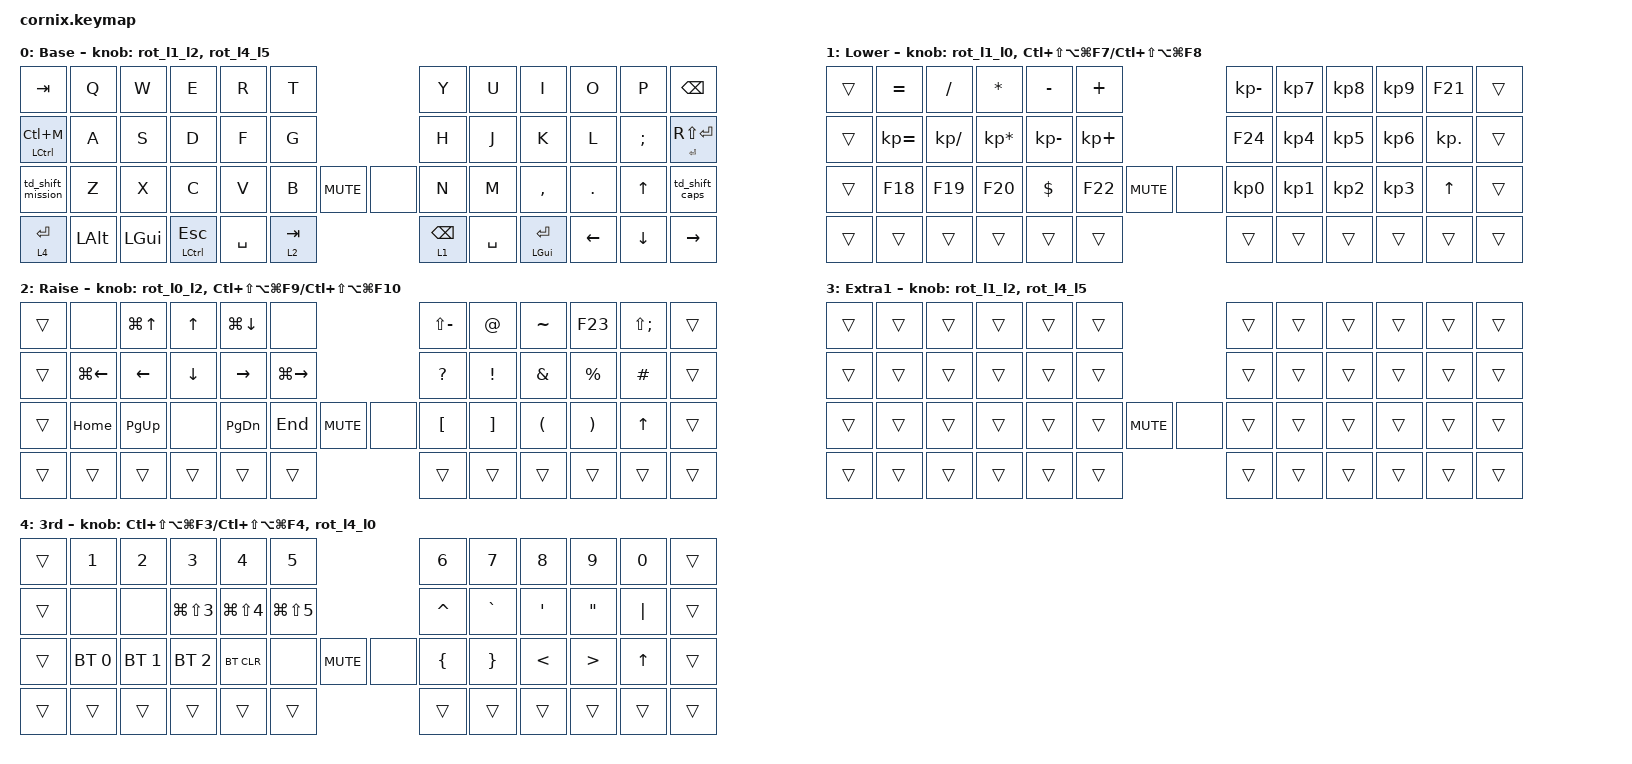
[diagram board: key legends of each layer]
#include <behaviors.dtsi>
#include <dt-bindings/zmk/keys.h>
#include <dt-bindings/zmk/bt.h>

/ {
    behaviors {
        // 1. tap_dance（左右shift2 回押し mission control / CAPSLOCK）
        td_shift_caps: td_shift_caps {
            compatible = "zmk,behavior-tap-dance";
            #binding-cells = <0>;
            tapping-term-ms = <200>;
            bindings = <&kp RSHFT>, <&kp CAPSLOCK>;
        };
        td_shift_mission: td_shift_mission {
            compatible = "zmk,behavior-tap-dance";
            #binding-cells = <0>;
            tapping-term-ms = <200>;
            bindings = <&kp LSHFT>, <&kp C_AC_DESKTOP_SHOW_ALL_WINDOWS>;
        };

         // 3. 長押し shift / 単押し shiftENTER
        mt_shift_shiftret: mt_shift_shiftret {
            compatible = "zmk,behavior-hold-tap";
            #binding-cells = <2>;
            bindings = <&kp>, <&kp>;
            flavor = "balanced";
            tapping-term-ms = <200>;
            quick-tap-ms = <175>; // これが2回目のタップで連打させるコードです
        };

        // 2. 長押し Control / 単押し Escapeまたは確定
        mt_esc_ctrl: mt_esc_ctrl {
            compatible = "zmk,behavior-hold-tap";
            #binding-cells = <2>;
            bindings = <&kp>, <&kp>;
            flavor = "balanced";
            tapping-term-ms = <200>;
            quick-tap-ms = <175>; // これが2回目のタップで連打させるコードです
        };


        // 3. 長押し Command / 単押し ENTER
        mt_ret_cmd: mt_ret_cmd {
            compatible = "zmk,behavior-hold-tap";
            #binding-cells = <2>;
            bindings = <&kp>, <&kp>;
            flavor = "balanced";
            tapping-term-ms = <200>;
            quick-tap-ms = <175>; // これが2回目のタップで連打させるコードです
        };

        
        // 4. レイヤー切り替え用 hold-tap
        // 長押し: Raise (Layer 2) / 単押し: TAB
        mt_tab_l2: mt_tab_l2 {
            compatible = "zmk,behavior-hold-tap";
            #binding-cells = <2>;
            bindings = <&mo>, <&kp>;
            flavor = "balanced";
            tapping-term-ms = <200>;
            quick-tap-ms = <175>; // これが2回目のタップで連打させるコードです
        };

        // 長押し: Lower (Layer 1) / 単押し: BackSpace (BSPC)
        mt_del_l1: mt_del_l1 {
            compatible = "zmk,behavior-hold-tap";
            #binding-cells = <2>;
            bindings = <&mo>, <&kp>;
            flavor = "balanced";
            tapping-term-ms = <200>;
            quick-tap-ms = <175>; // これが2回目のタップで連打させるコードです
        };

        // 長押し 4thレイヤー(Layer 4) / 単押し Return
        mt_ret_l4: mt_ret_l4 {
            compatible = "zmk,behavior-hold-tap";
            #binding-cells = <2>;
            bindings = <&mo>, <&kp>;
            flavor = "balanced";
            tapping-term-ms = <200>;
        };
        
        // 長押し 5thレイヤー(Layer 5) / 単押し Return
        mt_ret_l5: mt_ret_l5 {
            compatible = "zmk,behavior-hold-tap";
            #binding-cells = <2>;
            bindings = <&mo>, <&kp>;
            flavor = "balanced";
            tapping-term-ms = <200>;
        };


        // 6.単押しと長押しを使い分ける
        sr_hold_tap: sr_hold_tap {
            compatible = "zmk,behavior-hold-tap";
            #binding-cells = <2>;
            flavor = "hold-preferred";
            tapping-term-ms = <200>; // 👈 0.2秒長く押せば、自動で通常改行(ENTER)に変身します
            quick-tap-ms = <175>;    // 右手小指のダブルタップ連打も完璧に効くようになります
            bindings = <&kp>, <&kp>;
        };


        // 7. ツマミ専用レイヤー固定移動マクロ
        rot_l1_l2: rot_l1_l2 {
            compatible = "zmk,behavior-sensor-rotate";
            #sensor-binding-cells = <0>;
            bindings = <&to 1>, <&to 2>;
        };
        rot_l4_l5: rot_l4_l5 {
            compatible = "zmk,behavior-sensor-rotate";
            #sensor-binding-cells = <0>;
            bindings = <&to 4>, <&to 5>;
        };
        rot_l1_l0: rot_l1_l0 {
            compatible = "zmk,behavior-sensor-rotate";
            #sensor-binding-cells = <0>;
            bindings = <&to 1>, <&to 0>;
        };
        rot_l0_l2: rot_l0_l2 {
            compatible = "zmk,behavior-sensor-rotate";
            #sensor-binding-cells = <0>;
            bindings = <&to 0>, <&to 2>;
        };
        rot_l4_l0: rot_l4_l0 {
            compatible = "zmk,behavior-sensor-rotate";
            #sensor-binding-cells = <0>;
            bindings = <&to 4>, <&to 0>;
        };
        rot_l0_l5: rot_l0_l5 {
            compatible = "zmk,behavior-sensor-rotate";
            #sensor-binding-cells = <0>;
            bindings = <&to 0>, <&to 5>;
        };
        // 💤 未来のための保管庫：スラッシュでコメントアウトし、ZMKシステムから完全に眠らせています。
        // 💤 再び試したくなった時は、行頭の「//」をすべて消すだけで一瞬で復活できます。
        // hm_l: hm_l {
        //     compatible = "zmk,behavior-hold-tap";
        //     #binding-cells = <2>;
        //     flavor = "balanced";
        //     tapping-term-ms = <280>;
        //     quick-tap-ms = <175>;
        //     require-prior-idle-ms = <125>;
        //     bindings = <&kp>, <&kp>;
        //     hold-trigger-key-positions = <6 7 8 9 10 11 18 19 20 21 22 23 32 33 34 35 36 37>;
        // };

        // hm_r: hm_r {
        //     compatible = "zmk,behavior-hold-tap";
        //     #binding-cells = <2>;
        //     flavor = "balanced";
        //     tapping-term-ms = <280>;
        //     quick-tap-ms = <175>;
        //     require-prior-idle-ms = <125>;
        //     bindings = <&kp>, <&kp>;
        //     hold-trigger-key-positions = <0 1 2 3 4 5 12 13 14 15 16 17 26 27 28 29 30 31>;
        // };
    };

   
    keymap {
        compatible = "zmk,keymap";

       // 0. ベースレイヤー (Default / 薙刀式の共通の土台部屋)&sr_hold_tap ENTER LS(ENTER) &td_shift_caps
        default_layer {
            display-name = "Base";
            bindings = <
&kp TAB                   &kp Q            &kp W          &kp E                   &kp R             &kp T                         &kp Y       &kp U              &kp I                  &kp O      &kp P      &kp BSPC
&mt_esc_ctrl LCTRL LC(M)  &kp A            &kp S          &kp D                   &kp F             &kp G                         &kp H       &kp J              &kp K                  &kp L      &kp SEMI   &sr_hold_tap ENTER RS(ENTER)
&td_shift_mission         &kp Z            &kp X          &kp C                   &kp V             &kp B    &kp C_MUTE  &none    &kp N       &kp M              &kp COMMA              &kp DOT    &kp UP     &td_shift_caps
&mt_ret_l4 4 ENTER        &kp LALT         &kp LGUI       &mt_esc_ctrl LCTRL ESC  &kp SPACE         &mt_tab_l2 2 TAB        &mt_del_l1 1 BSPC      &kp SPACE    &mt_ret_cmd LGUI ENTER  &kp LEFT   &kp DOWN   &kp RIGHT
            >; 
            sensor-bindings = <&rot_l1_l2 &rot_l4_l5>;
        }; 

        // 1. Lowerレイヤー（テンキー部屋）
        // Karabiner連携用ダミーキー（未使用）&kp F14 　&kp F15 　&kp F16 　&kp F17   &kp  RSHFT MINUS
        Lower_layer { 
            display-name = "Lower";
            bindings = <
&trans  &kp EQUAL       &kp FSLH        &kp ASTERISK     &kp MINUS           &kp PLUS                                &kp KP_MINUS   &kp KP_N7  &kp KP_N8  &kp KP_N9   &kp F21       &trans
&trans  &kp KP_EQUAL    &kp KP_SLASH    &kp KP_ASTERISK  &kp KP_MINUS        &kp KP_PLUS                             &kp F24        &kp KP_N4  &kp KP_N5  &kp KP_N6   &kp KP_DOT    &trans
&trans  &kp F18         &kp F19         &kp F20          &kp DLLR            &kp F22        &kp C_MUTE  &none        &kp KP_N0      &kp KP_N1  &kp KP_N2  &kp KP_N3   &kp UP        &trans
&trans  &trans          &trans          &trans           &trans              &trans                                  &trans         &trans     &trans     &trans      &trans        &trans
            >;
            sensor-bindings = <&rot_l1_l0 &inc_dec_kp LC(LS(LA(LG(F7)))) LC(LS(LA(LG(F8))))>;
        };

        // 2. Raiseレイヤー（記号部屋：★左詰め）        
        Raise_layer {
            display-name = "Raise";
            bindings = <
&trans  &none         &kp LG(UP)    &kp UP       &kp LG(DOWN)    &none                         &kp LS(MINUS)  &kp AT       &kp TILDE   &kp F23         &kp LS(SEMI)   &trans
&trans  &kp LG(LEFT)  &kp LEFT      &kp DOWN     &kp RIGHT       &kp LG(RIGHT)                 &kp QMARK      &kp EXCL     &kp AMPS    &kp PRCNT       &kp HASH       &trans
&trans  &kp HOME      &kp PG_UP     &none        &kp PG_DN       &kp END   &kp C_MUTE  &none   &kp LBKT       &kp RBKT     &kp LPAR    &kp RPAR        &kp UP         &trans
&trans  &trans        &trans        &trans       &trans          &trans                        &trans         &trans       &trans      &trans          &trans         &trans
            >;
            sensor-bindings = <&rot_l0_l2 &inc_dec_kp LC(LS(LA(LG(F9)))) LC(LS(LA(LG(F10))))>;
        };

        // 3. 予備レイヤー (naginata_layer)
        naginata_layer {
            display-name = "Extra1";
            bindings = <
&trans  &trans  &trans  &trans  &trans     &trans                    &trans  &trans   &trans  &trans  &trans  &trans
&trans  &trans  &trans  &trans  &trans     &trans                    &trans  &trans   &trans  &trans  &trans  &trans
&trans  &trans  &trans  &trans  &trans     &trans  &kp C_MUTE &none  &trans  &trans   &trans  &trans  &trans  &trans
&trans  &trans  &trans  &trans  &trans     &trans                    &trans  &trans   &trans  &trans  &trans  &trans
            >;
            sensor-bindings = <&rot_l1_l2 &rot_l4_l5>;
        };

        // 4. システムレイヤー (4)
        third_layer {
            display-name = "3rd";
            bindings = < 
&trans  &kp N1        &kp N2         &kp N3          &kp N4          &kp N5                         &kp N6        &kp N7        &kp N8     &kp N9    &kp N0     &trans
&trans  &none         &none          &kp LG(LS(N3))  &kp LG(LS(N4))  &kp LG(LS(N5))                 &kp CARET     &kp GRAVE     &kp SQT    &kp DQT   &kp PIPE   &trans
&trans  &bt BT_SEL 0  &bt BT_SEL 1   &bt BT_SEL 2    &bt BT_CLR      &none     &kp C_MUTE  &none    &kp LBRC      &kp RBRC      &kp LT     &kp GT    &kp UP     &trans
&trans  &trans        &trans         &trans          &trans          &trans                         &trans        &trans        &trans     &trans    &trans     &trans
            >;
            sensor-bindings = <&inc_dec_kp LC(LS(LA(LG(F3)))) LC(LS(LA(LG(F4)))) &rot_l4_l0>;
        };

        // 5. 予約レイヤー (5)
        extra2 {
            display-name = "Extra2";
            status = "reserved";
            bindings = <
&trans  &kp F1        &kp F2         &kp F3          &kp F4          &kp F5                         &kp F6        &kp F7        &kp F8     &kp F9    &kp F10     &trans
&trans  &kp F11       &kp F12        &trans &trans &trans                  &trans &trans &trans &trans &trans &trans
&trans &trans &trans &trans &trans &trans &trans    &trans &trans &trans &trans &trans &trans &trans
&trans &trans &trans &trans &trans &trans                  &trans &trans &trans &trans &trans &trans
            >;
            sensor-bindings = <&inc_dec_kp LC(LS(LA(LG(F5)))) LC(LS(LA(LG(F6)))) &rot_l0_l5>;
        };
    };
};
